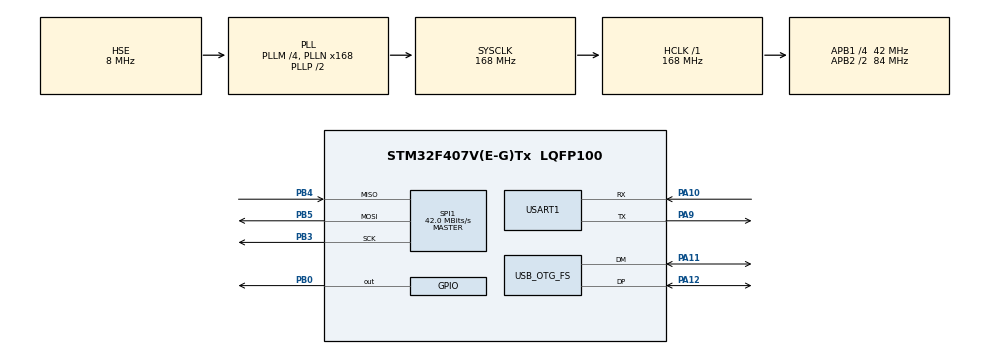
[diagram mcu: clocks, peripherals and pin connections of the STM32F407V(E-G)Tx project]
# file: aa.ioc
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Mcu.Family=STM32F4
Mcu.Name=STM32F407V(E-G)Tx
Mcu.Package=LQFP100
NVIC.OTG_FS_IRQn=true\:0\:0\:false\:false\:true\:true\:true
NVIC.PriorityGroup=NVIC_PRIORITYGROUP_4
NVIC.SPI1_IRQn=true\:0\:0\:false\:false\:true\:true\:true
NVIC.USART1_IRQn=true\:0\:0\:false\:false\:true\:true\:true
PA10.Mode=Asynchronous
PA10.Signal=USART1_RX
PA11.Mode=Device_Only
PA11.Signal=USB_OTG_FS_DM
PA12.Mode=Device_Only
PA12.Signal=USB_OTG_FS_DP
PA13.Mode=Serial_Wire
PA13.Signal=SYS_JTMS-SWDIO
PA14.Mode=Serial_Wire
PA14.Signal=SYS_JTCK-SWCLK
PA9.Mode=Asynchronous
PA9.Signal=USART1_TX
PB0.Signal=GPIO_Output
PB3.Mode=Full_Duplex_Master
PB3.Signal=SPI1_SCK
PB4.Mode=Full_Duplex_Master
PB4.Signal=SPI1_MISO
PB5.Mode=Full_Duplex_Master
PB5.Signal=SPI1_MOSI
PH0-OSC_IN.Mode=HSE-External-Oscillator
PH0-OSC_IN.Signal=RCC_OSC_IN
PH1-OSC_OUT.Mode=HSE-External-Oscillator
PH1-OSC_OUT.Signal=RCC_OSC_OUT
ProjectManager.HeapSize=0x1200
ProjectManager.StackSize=0x800
ProjectManager.TargetToolchain=MDK-ARM V5.27
RCC.48MHZClocksFreq_Value=48000000
RCC.AHBFreq_Value=168000000
RCC.APB1CLKDivider=RCC_HCLK_DIV4
RCC.APB1Freq_Value=42000000
RCC.APB1TimFreq_Value=84000000
RCC.APB2CLKDivider=RCC_HCLK_DIV2
RCC.APB2Freq_Value=84000000
RCC.APB2TimFreq_Value=168000000
RCC.CortexFreq_Value=168000000
RCC.HCLKFreq_Value=168000000
RCC.HSE_VALUE=8000000
RCC.HSI_VALUE=16000000
RCC.LSE_VALUE=32768
RCC.PLLM=4
RCC.PLLN=168
RCC.PLLQ=7
RCC.SYSCLKFreq_VALUE=168000000
RCC.SYSCLKSource=RCC_SYSCLKSOURCE_PLLCLK
RCC.VCOOutputFreq_Value=336000000
SPI1.CalculateBaudRate=42.0 MBits/s
SPI1.Direction=SPI_DIRECTION_2LINES
SPI1.Mode=SPI_MODE_MASTER
SPI1.VirtualType=VM_MASTER
USART1.VirtualMode=VM_ASYNC
USB_DEVICE.CLASS_NAME_FS=MSC
USB_DEVICE.MSC_MEDIA_PACKET-MSC_FS=4096
USB_DEVICE.USBD_MAX_STR_DESC_SIZ-MSC_FS=512
USB_DEVICE.VirtualMode-MSC_FS=Msc
USB_DEVICE.VirtualModeFS=Msc_FS
USB_OTG_FS.VirtualMode=Device_Only
VP_USB_DEVICE_VS_USB_DEVICE_MSC_FS.Mode=MSC_FS
board=custom

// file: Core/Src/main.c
/* USER CODE BEGIN Header */
/**
  ******************************************************************************
  * @file           : main.c
  * @brief          : Main program body
  ******************************************************************************
  * @attention
  *
  * <h2><center>&copy; Copyright (c) 2020 STMicroelectronics.
  * All rights reserved.</center></h2>
  *
  * This software component is licensed by ST under Ultimate Liberty license
  * SLA0044, the "License"; You may not use this file except in compliance with
  * the License. You may obtain a copy of the License at:
  *                             www.st.com/SLA0044
  *
  ******************************************************************************
  */
/* USER CODE END Header */
#include "main.h"
#include "spi.h"
#include "usart.h"
#include "usb_device.h"
#include "gpio.h"

/* USER CODE BEGIN Includes */
#include <sfud.h>
/* USER CODE END Includes */

void SystemClock_Config(void);

/* USER CODE BEGIN 0 */
#define SECTOR_SIZE   (4*1024)

#define SECTOR0_ADDR    (0*SECTOR_SIZE)
#define SECTOR1_ADDR    (1*SECTOR_SIZE)
#define SECTOR2_ADDR    (2*SECTOR_SIZE)
#define SECTOR3_ADDR    (3*SECTOR_SIZE)
#define SECTOR4_ADDR    (4*SECTOR_SIZE)
#define SECTOR5_ADDR    (5*SECTOR_SIZE)
#define SECTOR6_ADDR    (6*SECTOR_SIZE)
#define SECTOR7_ADDR    (7*SECTOR_SIZE)
#define SECTOR8_ADDR    (8*SECTOR_SIZE)

#define SECTOR_ADDR(x)  (x*SECTOR_SIZE)

#define TEST_SECTOR_ADDR     (SECTOR0_ADDR)
#define TEST_SECTOR_SIZE     (8*SECTOR_SIZE)

uint8_t read[TEST_SECTOR_SIZE];
uint8_t write[TEST_SECTOR_SIZE];
/* USER CODE END 0 */

int main(void)
{

  /* MCU Configuration--------------------------------------------------------*/

  /* Reset of all peripherals, Initializes the Flash interface and the Systick. */
  HAL_Init();

  /* Configure the system clock */
  SystemClock_Config();

  /* Initialize all configured peripherals */
  MX_GPIO_Init();
  MX_SPI1_Init();
  MX_USB_DEVICE_Init();
  MX_USART1_UART_Init();
  /* USER CODE BEGIN 2 */

    sfud_init();
	HAL_Delay(500);
    const sfud_flash *flash = sfud_get_device_table();
//   if(sfud_erase(flash,TEST_SECTOR_ADDR,TEST_SECTOR_SIZE)== SFUD_SUCCESS)
//   {
//		printf("=========>erase ok\r\n");
//   }

    /* erase test */
    //sfud_chip_erase(flash);
    /* write test */

//    for(uint16_t i=0;i<1024*4;i++)
//	{
//		write[i] = i;
//	}
//   if(sfud_write(flash, 0, sizeof(write),write)== SFUD_SUCCESS)
//   {
//
//   }
//   if(sfud_read(flash, TEST_SECTOR_ADDR, TEST_SECTOR_SIZE, (uint8_t*)read) == SFUD_SUCCESS)
//   {
//       uint32_t line=0;
//	   for(line = 0;line<(TEST_SECTOR_SIZE/32);line++)
//	   {
//		   printf("line%4d: ",line);
//		   for(uint8_t i=0;i<32;i++)
//		   {
//			   printf("%02X ",(uint8_t)read[line*32+i]);
//		   }
//		   printf("\r\n");
//	   }
//   }
    /* read test */

  /* USER CODE END 2 */

  /* Infinite loop */
  while (1)
  {

  }
}

void SystemClock_Config(void)
{
  RCC_OscInitTypeDef RCC_OscInitStruct = {0};
  RCC_ClkInitTypeDef RCC_ClkInitStruct = {0};

  /** Configure the main internal regulator output voltage
  */
  __HAL_RCC_PWR_CLK_ENABLE();
  __HAL_PWR_VOLTAGESCALING_CONFIG(PWR_REGULATOR_VOLTAGE_SCALE1);
  /** Initializes the RCC Oscillators according to the specified parameters
  * in the RCC_OscInitTypeDef structure.
  */
  RCC_OscInitStruct.OscillatorType = RCC_OSCILLATORTYPE_HSE;
  RCC_OscInitStruct.HSEState = RCC_HSE_ON;
  RCC_OscInitStruct.PLL.PLLState = RCC_PLL_ON;
  RCC_OscInitStruct.PLL.PLLSource = RCC_PLLSOURCE_HSE;
  RCC_OscInitStruct.PLL.PLLM = 4;
  RCC_OscInitStruct.PLL.PLLN = 168;
  RCC_OscInitStruct.PLL.PLLP = RCC_PLLP_DIV2;
  RCC_OscInitStruct.PLL.PLLQ = 7;
  if (HAL_RCC_OscConfig(&RCC_OscInitStruct) != HAL_OK)
  {
    Error_Handler();
  }
  /** Initializes the CPU, AHB and APB buses clocks
  */
  RCC_ClkInitStruct.ClockType = RCC_CLOCKTYPE_HCLK|RCC_CLOCKTYPE_SYSCLK
                              |RCC_CLOCKTYPE_PCLK1|RCC_CLOCKTYPE_PCLK2;
  RCC_ClkInitStruct.SYSCLKSource = RCC_SYSCLKSOURCE_PLLCLK;
  RCC_ClkInitStruct.AHBCLKDivider = RCC_SYSCLK_DIV1;
  RCC_ClkInitStruct.APB1CLKDivider = RCC_HCLK_DIV4;
  RCC_ClkInitStruct.APB2CLKDivider = RCC_HCLK_DIV2;

  if (HAL_RCC_ClockConfig(&RCC_ClkInitStruct, FLASH_LATENCY_5) != HAL_OK)
  {
    Error_Handler();
  }
}

void Error_Handler(void)
{
}

/************************ (C) COPYRIGHT STMicroelectronics *****END OF FILE****/
